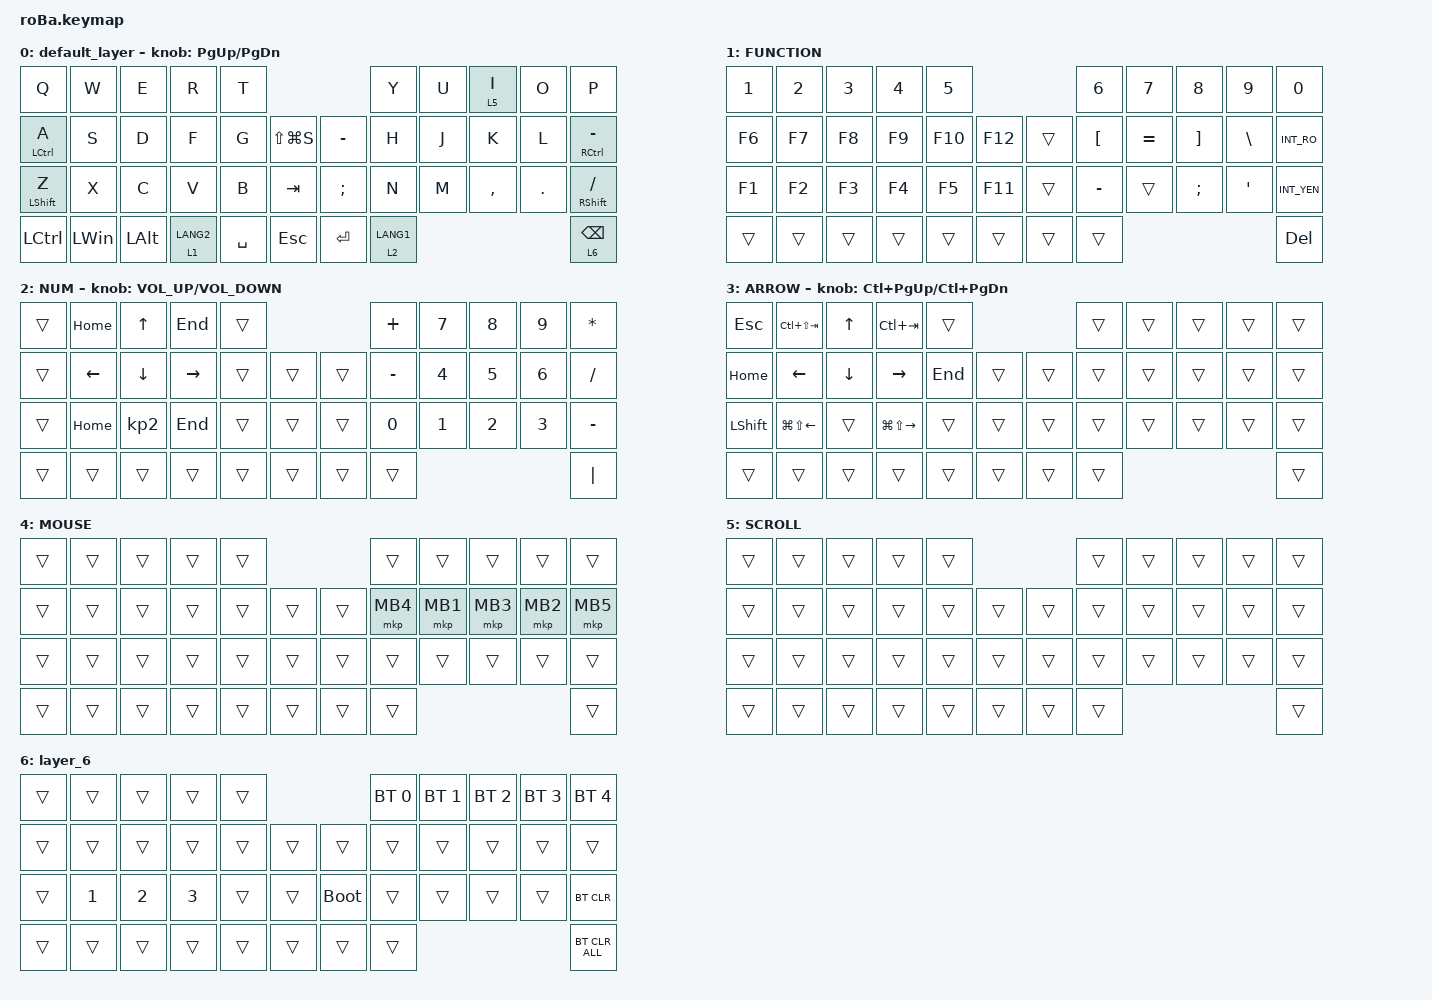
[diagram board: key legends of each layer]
#include <behaviors.dtsi>
#include <dt-bindings/zmk/bt.h>
#include <dt-bindings/zmk/keys.h>
#include <dt-bindings/zmk/pointing.h>

&mt {
    flavor = "balanced";
    quick-tap-ms = <0>;
};

&trackball {
    automouse-layer = <4>;
    scroll-layers = <5>;

    // arrows {
    //     layers = <3>;
    //     bindings =
    //         <&kp RIGHT_ARROW>,
    //         <&kp LEFT_ARROW>,
    //         <&kp UP_ARROW>,
    //         <&kp DOWN_ARROW>;
    //     tick = <10>;
    //     wait-ms = <5>;
    //     tap-ms = <5>;
    // };
};

/ {
    combos {
        compatible = "zmk,combos";

        tab {
            bindings = <&kp TAB>;
            key-positions = <11 12>;
        };

        shift_tab {
            bindings = <&kp LS(TAB)>;
            key-positions = <12 13>;
        };

        muhennkann {
            bindings = <&to_layer_0 INT_MUHENKAN>;
            key-positions = <11 10>;
        };

        double_quotation {
            bindings = <&kp DOUBLE_QUOTES>;
            key-positions = <20 21>;
        };

        eq {
            bindings = <&kp EQUAL>;
            key-positions = <24 25>;
        };
    };

    macros {
        to_layer_0: to_layer_0 {
            compatible = "zmk,behavior-macro-one-param";
            #binding-cells = <1>;
            bindings = <&to 0 &macro_param_1to1 &kp MACRO_PLACEHOLDER>;
            label = "TO_LAYER_0";
        };
    };

    behaviors {
        lt_to_layer_0: lt_to_layer_0 {
            compatible = "zmk,behavior-hold-tap";
            label = "LAYER_TAP_TO_0";
            bindings = <&mo>, <&to_layer_0>;

            #binding-cells = <2>;
            tapping-term-ms = <200>;
        };
    };

    keymap {
        compatible = "zmk,keymap";

        default_layer {
            bindings = <
&kp Q               &kp W         &kp E         &kp R        &kp T                                        &kp Y        &kp U  &lt 5 I    &kp O    &kp P
&mt LEFT_CONTROL A  &kp S         &kp D         &kp F        &kp G      &kp LS(LG(S))      &kp MINUS      &kp H        &kp J  &kp K      &kp L    &mt RCTRL MINUS
&mt LEFT_SHIFT Z    &kp X         &kp C         &kp V        &kp B      &kp TAB            &kp SEMICOLON  &kp N        &kp M  &kp COMMA  &kp DOT  &mt RIGHT_SHIFT SLASH
&kp LCTRL           &kp LEFT_WIN  &kp LEFT_ALT  &lt 1 LANG2  &kp SPACE  &kp ESCAPE         &kp RETURN     &lt 2 LANG1                             &lt 6 BACKSPACE
            >;

            sensor-bindings = <&inc_dec_kp PG_UP PAGE_DOWN>;
        };

        FUNCTION {
            bindings = <
&kp N1  &kp N2  &kp N3  &kp N4  &kp N5                        &kp N6     &kp N7     &kp N8    &kp N9    &kp N0
&kp F6  &kp F7  &kp F8  &kp F9  &kp F10  &kp F12      &trans  &kp LBKT   &kp EQUAL  &kp RBKT  &kp BSLH  &kp INT_RO
&kp F1  &kp F2  &kp F3  &kp F4  &kp F5   &kp F11      &trans  &kp MINUS  &trans     &kp SEMI  &kp APOS  &kp INT_YEN
&trans  &trans  &trans  &trans  &trans   &trans       &trans  &trans                                    &kp DEL
            >;
        };

        NUM {
            bindings = <
&trans  &kp HOME  &kp UP           &kp END    &trans                      &kp PLUS   &kp N7  &kp N8  &kp N9  &kp STAR
&trans  &kp LEFT  &kp DOWN         &kp RIGHT  &trans  &trans      &trans  &kp MINUS  &kp N4  &kp N5  &kp N6  &kp FSLH
&trans  &kp HOME  &kp KP_NUMBER_2  &kp END    &trans  &trans      &trans  &kp N0     &kp N1  &kp N2  &kp N3  &kp MINUS
&trans  &trans    &trans           &trans     &trans  &trans      &trans  &trans                             &kp PIPE
            >;

            sensor-bindings = <&inc_dec_kp K_VOLUME_UP K_VOLUME_DOWN>;
        };

        ARROW {
            bindings = <
&kp ESCAPE      &kp LC(LS(TAB))         &kp UP_ARROW    &kp LC(TAB)              &trans                       &trans  &trans  &trans  &trans  &trans
&kp HOME        &kp LEFT_ARROW          &kp DOWN_ARROW  &kp RIGHT_ARROW          &kp END  &trans      &trans  &trans  &trans  &trans  &trans  &trans
&kp LEFT_SHIFT  &kp LG(LS(LEFT_ARROW))  &trans          &kp LG(LS(RIGHT_ARROW))  &trans   &trans      &trans  &trans  &trans  &trans  &trans  &trans
&trans          &trans                  &trans          &trans                   &trans   &trans      &trans  &trans                          &trans
            >;

            sensor-bindings = <&inc_dec_kp LC(PAGE_UP) LC(PAGE_DOWN)>;
        };

        MOUSE {
            bindings = <
&trans  &trans  &trans  &trans  &trans                      &trans    &trans    &trans    &trans    &trans
&trans  &trans  &trans  &trans  &trans  &trans      &trans  &mkp MB4  &mkp MB1  &mkp MB3  &mkp MB2  &mkp MB5
&trans  &trans  &trans  &trans  &trans  &trans      &trans  &trans    &trans    &trans    &trans    &trans
&trans  &trans  &trans  &trans  &trans  &trans      &trans  &trans                                  &trans
            >;
        };

        SCROLL {
            bindings = <
&trans  &trans  &trans  &trans  &trans                      &trans  &trans  &trans  &trans  &trans
&trans  &trans  &trans  &trans  &trans  &trans      &trans  &trans  &trans  &trans  &trans  &trans
&trans  &trans  &trans  &trans  &trans  &trans      &trans  &trans  &trans  &trans  &trans  &trans
&trans  &trans  &trans  &trans  &trans  &trans      &trans  &trans                          &trans
            >;
        };

        layer_6 {
            bindings = <
&trans  &trans        &trans        &trans        &trans                           &bt BT_SEL 0  &bt BT_SEL 1  &bt BT_SEL 2  &bt BT_SEL 3  &bt BT_SEL 4
&trans  &trans        &trans        &trans        &trans  &trans      &trans       &trans        &trans        &trans        &trans        &trans
&trans  &kp NUMBER_1  &kp NUMBER_2  &kp NUMBER_3  &trans  &trans      &bootloader  &trans        &trans        &trans        &trans        &bt BT_CLR
&trans  &trans        &trans        &trans        &trans  &trans      &trans       &trans                                                  &bt BT_CLR_ALL
            >;
        };
    };
};
